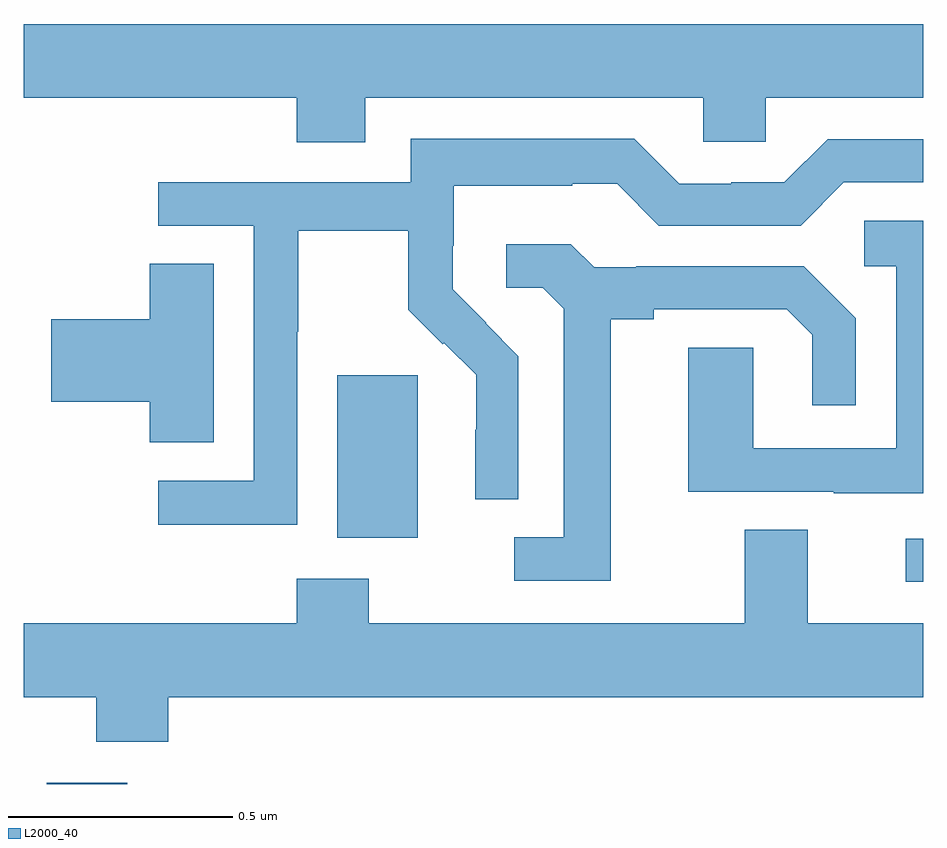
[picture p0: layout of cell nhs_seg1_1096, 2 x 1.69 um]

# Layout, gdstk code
import gdstk
lib = gdstk.Library(unit=1e-6, precision=1e-09)
def R(c, l, rs):  # rectangles x0, y0, x1, y1
    for r in rs: c.add(gdstk.rectangle(r[:2], r[2:], *l))
def P(c, l, *ps):  # polygons
    for p in ps: c.add(gdstk.Polygon(p, *l))
L2000_40 = (2000, 40)

nhs_seg1_1096 = lib.new_cell('nhs_seg1_1096')
R(nhs_seg1_1096, L2000_40, [(124.052,558.199,124.231,558.202), (125.961,558.648,126,558.744), (124.697,558.746,124.876,559.107)])
P(nhs_seg1_1096, L2000_40, [(124.759,559.724),(125.511,559.724),(125.511,559.626),(125.649,559.626),(125.649,559.724),(126,559.724),(126,559.888),(124,559.888),(124,559.724),(124.607,559.724),(124.607,559.625),(124.759,559.625)],
  [(124.608,559.204),(124.611,559.204),(124.611,559.428),(124.855,559.428),(124.855,559.253),(124.932,559.176),(124.935,559.179),(125.006,559.109),(125.006,558.986),(125.004,558.986),(125.004,558.832),(125.1,558.832),(125.1,559.15),(125.027,559.223),(125.028,559.224),(124.954,559.298),(124.954,559.395),(124.956,559.395),(124.956,559.529),(125.219,559.529),(125.219,559.533),(125.319,559.533),(125.412,559.44),(125.727,559.44),(125.823,559.536),(126,559.536),(126,559.632),(125.787,559.632),(125.691,559.536),(125.573,559.536),(125.573,559.533),(125.457,559.533),(125.357,559.633),(124.86,559.633),(124.86,559.536),(124.299,559.536),(124.299,559.44),(124.512,559.44),(124.512,558.873),(124.299,558.873),(124.299,558.775),(124.608,558.775)],
  [(126,559.451),(125.868,559.451),(125.868,559.35),(125.94,559.35),(125.94,558.945),(125.622,558.945),(125.622,559.169),(125.477,559.169),(125.477,558.849),(125.801,558.849),(125.801,558.845),(126,558.845)],
  [(125.305,559.232),(125.401,559.232),(125.401,559.254),(125.696,559.254),(125.753,559.197),(125.753,559.041),(125.85,559.041),(125.85,559.234),(125.734,559.35),(125.362,559.35),(125.362,559.347),(125.268,559.347),(125.216,559.399),(125.073,559.399),(125.073,559.302),(125.154,559.302),(125.201,559.255),(125.201,558.747),(125.091,558.747),(125.091,558.651),(125.305,558.651)],
  [(124.423,559.355),(124.28,559.355),(124.28,559.232),(124.062,559.232),(124.062,559.049),(124.28,559.049),(124.28,558.958),(124.423,558.958)],
  [(124.322,558.392),(126,558.392),(126,558.556),(125.743,558.556),(125.743,558.764),(125.603,558.764),(125.603,558.556),(124.767,558.556),(124.767,558.655),(124.607,558.655),(124.607,558.556),(124,558.556),(124,558.392),(124.162,558.392),(124.162,558.293),(124.322,558.293)])

lib.write_gds('nhs_seg1_1096.gds')
